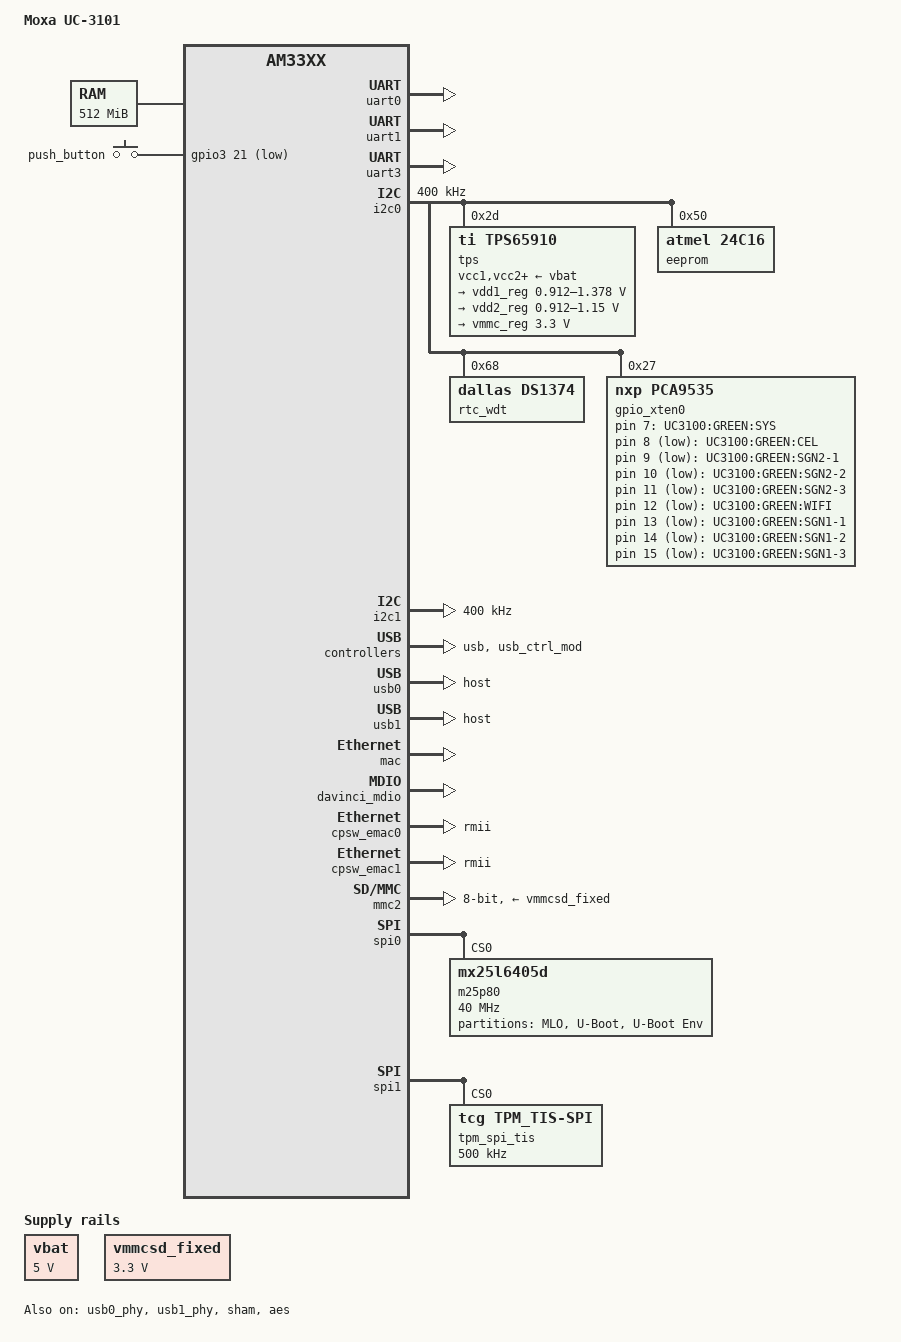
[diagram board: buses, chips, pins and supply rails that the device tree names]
/*
 * Copyright (C) 2017 MOXA Inc. - https://www.moxa.com/
 *
 * Author: Wes Huang (黃淵河) <wes.huang@moxa.com>
 *
 * This program is free software; you can redistribute it and/or modify
 * it under the terms of the GNU General Public License version 2 as
 * published by the Free Software Foundation.
 */

/dts-v1/;

#include "am33xx.dtsi"

/ {
	model = "Moxa UC-3101";
	compatible = "moxa,uc-3101", "ti,am33xx";

	cpus {
		cpu@0 {
			cpu0-supply = <&vdd1_reg>;
		};
	};

	cpu0_opp_table: opp_table0 {
		opp50@300000000 {
			status = "okay";
		};

		opp100@275000000 {
			status = "disabled";
		};

		opp100@300000000 {
			status = "disabled";
		};

		opp100@500000000 {
			status = "disabled";
		};

		opp100@600000000 {
			status = "okay";
		};

		opp120@600000000 {
			status = "disabled";
		};

		opp120@720000000 {
			status = "okay";
		};

		oppturbo@720000000 {
			status = "disabled";
		};

		oppturbo@800000000 {
			status = "disabled";
		};

		oppnitro@1000000000 {
			status = "okay";
		};
	};

	memory {
		device_type = "memory";
		reg = <0x80000000 0x20000000>; /* 512 MB */
	};

	vbat: fixedregulator@0 {
		compatible = "regulator-fixed";
	};

	/* Power supply provides a fixed 3.3V @3A */
	vmmcsd_fixed: fixedregulator@1 {
	      compatible = "regulator-fixed";
	      regulator-name = "vmmcsd_fixed";
	      regulator-min-microvolt = <3300000>;
	      regulator-max-microvolt = <3300000>;
	      regulator-boot-on;
	};

	leds {
		compatible = "gpio-leds";
		led@1 {
			label = "UC3100:GREEN:SYS";
			gpios = <&gpio_xten0 7 0>;
			default-state = "off";
		};

		led@2 {
			label = "UC3100:GREEN:CEL";
			gpios = <&gpio_xten0 8 1>;
			default-state = "off";
		};

		led@3 {
			label = "UC3100:GREEN:SGN2-1";
			gpios = <&gpio_xten0 9 1>;
			default-state = "off";
		};

		led@4 {
			label = "UC3100:GREEN:SGN2-2";
			gpios = <&gpio_xten0 10 1>;
			default-state = "off";
		};

		led@5 {
			label = "UC3100:GREEN:SGN2-3";
			gpios = <&gpio_xten0 11 1>;
			default-state = "off";
		};

		led@6 {
			label = "UC3100:GREEN:WIFI";
			gpios = <&gpio_xten0 12 1>;
			default-state = "off";
		};

		led@7 {
			label = "UC3100:GREEN:SGN1-1";
			gpios = <&gpio_xten0 13 1>;
			default-state = "off";
		};

		led@8 {
			label = "UC3100:GREEN:SGN1-2";
			gpios = <&gpio_xten0 14 1>;
			default-state = "off";
		};

		led@9 {
			label = "UC3100:GREEN:SGN1-3";
			gpios = <&gpio_xten0 15 1>;
			default-state = "off";
		};
	};

	buttons: push_button {
		compatible = "gpio-keys";
	};
};

&am33xx_pinmux {
	pinctrl-names = "default";

	push_button_pins: pinmux_push_button {
		pinctrl-single,pins = <
			0x1ac (PIN_INPUT_PULLDOWN | MUX_MODE7)  /* mcasp0_ahcklx.gpio3_21 */
		>;
	};

	i2c0_pins: pinmux_i2c0_pins {
		pinctrl-single,pins = <
			AM33XX_IOPAD(0x988, PIN_INPUT_PULLUP | MUX_MODE0)    /* i2c0_sda.i2c0_sda */
			AM33XX_IOPAD(0x98c, PIN_INPUT_PULLUP | MUX_MODE0)    /* i2c0_scl.i2c0_scl */
		>;
	};

	i2c1_pins: pinmux_i2c1_pins {
		pinctrl-single,pins = <
			AM33XX_IOPAD(0x968, PIN_INPUT_PULLUP | MUX_MODE3)    /* uart0_ctsn.i2c1_sda */
			AM33XX_IOPAD(0x96c, PIN_INPUT_PULLUP | MUX_MODE3)    /* uart0_rtsn.i2c1_scl */
		>;
	};

	uart0_pins: pinmux_uart0_pins {
		pinctrl-single,pins = <
			AM33XX_IOPAD(0x970, PIN_INPUT_PULLUP | MUX_MODE0)	/* uart0_rxd.uart0_rxd */
			AM33XX_IOPAD(0x974, PIN_OUTPUT_PULLDOWN | MUX_MODE0)	/* uart0_txd.uart0_txd */
		>;
	};

	uart1_pins: pinmux_uart1_pins {
		/* ELS61 Cellular Module */
		pinctrl-single,pins = <
			AM33XX_IOPAD(0x980, PIN_INPUT_PULLUP | MUX_MODE0)	/* uart1_rxd.uart1_rxd */
			AM33XX_IOPAD(0x984, PIN_OUTPUT_PULLDOWN | MUX_MODE0)	/* uart1_txd.uart1_txd */
		>;
	};

	uart3_pins: pinmux_uart3_pins {
		/* MCU FWR Upgrade */
		pinctrl-single,pins = <
			AM33XX_IOPAD(0x934, PIN_INPUT_PULLUP | MUX_MODE1)	/* mii1_rxd3.uart3_rxd */
			AM33XX_IOPAD(0x938, PIN_OUTPUT_PULLDOWN | MUX_MODE1)	/* mii1_rxd2.uart3_txd */
		>;
	};

	cpsw_default: cpsw_default {
		pinctrl-single,pins = <
			/* Slave 1 */
			AM33XX_IOPAD(0x90c, PIN_INPUT_PULLDOWN | MUX_MODE1)    	/* mii1_crs.rmii1_crs_dv */
			AM33XX_IOPAD(0x910, PIN_INPUT_PULLUP | MUX_MODE1)    	/* mii1_rx_er.rmii1_rxerr */
			AM33XX_IOPAD(0x914, PIN_OUTPUT_PULLDOWN | MUX_MODE1)   	/* mii1_tx_en.rmii1_rxen */
			AM33XX_IOPAD(0x924, PIN_OUTPUT_PULLDOWN | MUX_MODE1)  	/* mii1_txd1.rmii1_txd1 */
			AM33XX_IOPAD(0x928, PIN_OUTPUT_PULLDOWN | MUX_MODE1)	/* mii1_txd0.rmii1_txd0 */
			AM33XX_IOPAD(0x93c, PIN_INPUT_PULLUP | MUX_MODE1)    	/* mii1_rxd1.rmii1_rxd1 */
			AM33XX_IOPAD(0x940, PIN_INPUT_PULLUP | MUX_MODE1)    	/* mi11_rxd0.rmii1_rxd0 */
			AM33XX_IOPAD(0x944, PIN_INPUT_PULLDOWN | MUX_MODE0)    	/* rmii1_ref_clk.rmii1_ref_clk */

			/* Slave 2 */
			AM33XX_IOPAD(0x870, PIN_INPUT_PULLDOWN | MUX_MODE3)   	/* gpmc_wait0.rmii2_crs_dv */
			AM33XX_IOPAD(0x874, PIN_INPUT_PULLDOWN | MUX_MODE3)   	/* gpmc_wpn.rmii2_rxerr */
			AM33XX_IOPAD(0x840, PIN_OUTPUT_PULLDOWN | MUX_MODE3)   	/* gpmc_a0.rmii2_txen */
			AM33XX_IOPAD(0x850, PIN_OUTPUT_PULLDOWN | MUX_MODE3)   	/* gpmc_a4.rmii2_txd1 */
			AM33XX_IOPAD(0x854, PIN_OUTPUT_PULLDOWN | MUX_MODE3)   	/* gpmc_a5.rmii2_txd0 */
			AM33XX_IOPAD(0x868, PIN_INPUT_PULLDOWN | MUX_MODE3)   	/* gpmc_a10.rmii2_rxd1 */
			AM33XX_IOPAD(0x86c, PIN_INPUT_PULLDOWN | MUX_MODE3)   	/* gpmc_a10.rmii2_rxd0 */
			AM33XX_IOPAD(0x908, PIN_INPUT_PULLDOWN | MUX_MODE1)   	/* mii1_col.rmii2_ref_clk */
		>;
	};

	davinci_mdio_default: davinci_mdio_default {
		pinctrl-single,pins = <
			/* MDIO */
			AM33XX_IOPAD(0x948, PIN_INPUT_PULLUP | SLEWCTRL_FAST | MUX_MODE0)	/* mdio_data.mdio_data */
			AM33XX_IOPAD(0x94c, PIN_OUTPUT_PULLUP | MUX_MODE0)			/* mdio_clk.mdio_clk */
		>;
	};

	mmc1_pins_default: pinmux_mmc1_pins {
		pinctrl-single,pins = <
			/* eMMC */
			AM33XX_IOPAD(0x800, PIN_INPUT_PULLUP | MUX_MODE1)	/* gpmc_ad0.mmc1_dat0 */
			AM33XX_IOPAD(0x804, PIN_INPUT_PULLUP | MUX_MODE1)	/* gpmc_ad1.mmc1_dat1 */
			AM33XX_IOPAD(0x808, PIN_INPUT_PULLUP | MUX_MODE1)	/* gpmc_ad2.mmc1_dat2 */
			AM33XX_IOPAD(0x80c, PIN_INPUT_PULLUP | MUX_MODE1)	/* gpmc_ad3.mmc1_dat3 */
			AM33XX_IOPAD(0x810, PIN_INPUT_PULLUP | MUX_MODE1)	/* gpmc_ad4.mmc1_dat4 */
			AM33XX_IOPAD(0x814, PIN_INPUT_PULLUP | MUX_MODE1)	/* gpmc_ad5.mmc1_dat5 */
			AM33XX_IOPAD(0x818, PIN_INPUT_PULLUP | MUX_MODE1)	/* gpmc_ad6.mmc1_dat6 */
			AM33XX_IOPAD(0x81c, PIN_INPUT_PULLUP | MUX_MODE1)	/* gpmc_ad7.mmc1_dat7 */
			AM33XX_IOPAD(0x880, PIN_INPUT_PULLUP | MUX_MODE2)	/* gpmc_csn1.mmc1_clk */
			AM33XX_IOPAD(0x884, PIN_INPUT_PULLUP | MUX_MODE2)	/* gpmc_csn2.mmc1_cmd */
		>;
	};

	spi0_pins: pinmux_spi0 {
		pinctrl-single,pins = <
			AM33XX_IOPAD(0x950, PIN_INPUT_PULLUP | MUX_MODE0) /* spi0_sclk.spi0_sclk */
			AM33XX_IOPAD(0x95c, PIN_INPUT_PULLUP | MUX_MODE0) /* spi0_cs0.spi0_cs0 */
			AM33XX_IOPAD(0x954, PIN_INPUT_PULLUP | MUX_MODE0) /* spi0_d0.spi0_d0 */
			AM33XX_IOPAD(0x958, PIN_INPUT_PULLUP | MUX_MODE0) /* spi0_d1.spi0_d1 */
		>;
	};

	spi1_pins: pinmux_spi1 {
		pinctrl-single,pins = <
			AM33XX_IOPAD(0x990, PIN_INPUT_PULLUP | MUX_MODE3) /* mcasp0_aclx.spi1_sclk */
			AM33XX_IOPAD(0x994, PIN_INPUT_PULLUP | MUX_MODE3) /* mcasp0_fsx.spi1_d0 */
			AM33XX_IOPAD(0x998, PIN_INPUT_PULLUP | MUX_MODE3) /* mcasp0_axr0.spi1_d1 */
			AM33XX_IOPAD(0x99c, PIN_INPUT_PULLUP | MUX_MODE3) /* macasp0_ahclkr.spi1_cs0 */
		>;
	};

};

&uart0 {
	/* Console */
	status = "okay";
	pinctrl-names = "default";
	pinctrl-0 = <&uart0_pins>;
};

&uart1 {
	/* UART 1 setting */
	status = "okay";
	pinctrl-names = "default";
	pinctrl-0 = <&uart1_pins>;
};


&uart3 {
	/* UART 3 setting */
	status = "okay";
	pinctrl-names = "default";
	pinctrl-0 = <&uart3_pins>;
};

&i2c0 {
	pinctrl-names = "default";
	pinctrl-0 = <&i2c0_pins>;

	status = "okay";
	clock-frequency = <400000>;

	tps: tps@2d {
		compatible = "ti,tps65910";
		reg = <0x2d>;
	};

	eeprom: eeprom@50 {
		compatible = "atmel,24c16";
		pagesize = <16>;
		reg = <0x50>;
	};

	rtc_wdt: rtc_wdt@68 {
		compatible = "dallas,ds1374";
		reg = <0x68>;
	};

	gpio_xten0: gpio_xten0@27 {
		compatible = "nxp,pca9535";
		gpio-controller;
		#gpio-cells = <2>;
		reg = <0x27>;
	};
};

&i2c1 {
	pinctrl-names = "default";
	pinctrl-0 = <&i2c1_pins>;

	status = "okay";
	clock-frequency = <400000>;
};

&usb {
	status = "okay";
};

&usb_ctrl_mod {
	status = "okay";
};

&usb0_phy {
	status = "okay";
};

&usb1_phy {
	status = "okay";
};

&usb0 {
	status = "okay";
	dr_mode = "host";
};

&usb1 {
	status = "okay";
	dr_mode = "host";
};

&cppi41dma  {
	status = "okay";
};

#include "tps65910.dtsi"

&tps {
	vcc1-supply = <&vbat>;
	vcc2-supply = <&vbat>;
	vcc3-supply = <&vbat>;
	vcc4-supply = <&vbat>;
	vcc5-supply = <&vbat>;
	vcc6-supply = <&vbat>;
	vcc7-supply = <&vbat>;
	vccio-supply = <&vbat>;

	regulators {
		vrtc_reg: regulator@0 {
			regulator-always-on;
		};

		vio_reg: regulator@1 {
			regulator-always-on;
		};

		vdd1_reg: regulator@2 {
			/* VDD_MPU voltage limits 0.95V - 1.26V with +/-4% tolerance */
			regulator-name = "vdd_mpu";
			regulator-min-microvolt = <912500>;
			regulator-max-microvolt = <1378000>;
			regulator-boot-on;
			regulator-always-on;
		};

		vdd2_reg: regulator@3 {
			/* VDD_CORE voltage limits 0.95V - 1.1V with +/-4% tolerance */
			regulator-name = "vdd_core";
			regulator-min-microvolt = <912500>;
			regulator-max-microvolt = <1150000>;
			regulator-boot-on;
			regulator-always-on;
		};

		vdd3_reg: regulator@4 {
			regulator-always-on;
		};

		vdig1_reg: regulator@5 {
			regulator-always-on;
		};

		vdig2_reg: regulator@6 {
			regulator-always-on;
		};

		vpll_reg: regulator@7 {
			regulator-always-on;
		};

		vdac_reg: regulator@8 {
			regulator-always-on;
		};

		vaux1_reg: regulator@9 {
			regulator-always-on;
		};

		vaux2_reg: regulator@10 {
			regulator-always-on;
		};

		vaux33_reg: regulator@11 {
			regulator-always-on;
		};

		vmmc_reg: regulator@12 {
			compatible = "regulator-fixed";
			regulator-name = "vmmc_reg";
			regulator-min-microvolt = <3300000>;
			regulator-max-microvolt = <3300000>;
			regulator-always-on;
		};
	};
};

/* Power */
&vbat {
	regulator-name = "vbat";
	regulator-min-microvolt = <5000000>;
	regulator-max-microvolt = <5000000>;
};

&mac {
	pinctrl-names = "default";
	pinctrl-0 = <&cpsw_default>;
	dual_emac = <1>;
	status = "okay";
};

&davinci_mdio {
	pinctrl-names = "default";
	pinctrl-0 = <&davinci_mdio_default>;
	status = "okay";
};

&cpsw_emac0 {
	status = "okay";
	phy_id = <&davinci_mdio>, <4>;
	phy-mode = "rmii";
	dual_emac_res_vlan = <1>;
};

&cpsw_emac1 {
	status = "okay";
	phy_id = <&davinci_mdio>, <5>;
	phy-mode = "rmii";
	dual_emac_res_vlan = <2>;
};

&phy_sel {
	reg= <0x44e10650 0xf5>;
	rmii-clock-ext;
};

&sham {
	status = "okay";
};

&aes {
	status = "okay";
};

&gpio0 {
	ti,no-reset-on-init;
};

&mmc2 {
	pinctrl-names = "default";
	vmmc-supply = <&vmmcsd_fixed>;
	bus-width = <8>;
	pinctrl-0 = <&mmc1_pins_default>;
	ti,non-removable;
	status = "okay";
};

&buttons {
	pinctrl-names = "default";
	pinctrl-0 = <&push_button_pins>;
	#address-cells = <1>;
	#size-cells = <0>;

	button@0 {
		label = "push_button";
		linux,code = <0x100>;
		gpios = <&gpio3 21 GPIO_ACTIVE_LOW>;
	};
};

/* SPI Busses */
&spi0 {
	status = "okay";
	pinctrl-names = "default";
	pinctrl-0 = <&spi0_pins>;

	m25p80@0 {
		compatible = "mx25l6405d";
		spi-max-frequency = <40000000>;

		reg = <0>;
		spi-cpol;
		spi-cpha;

		partitions {
			compatible = "fixed-partitions";
			#address-cells = <1>;
			#size-cells = <1>;

			/* reg : The partition's offset and size within the mtd bank. */
			partitions@0 {
				label = "MLO";
				reg = <0x0 0x80000>;
			};

			partitions@1 {
				label = "U-Boot";
				reg = <0x80000 0x100000>;
			};

			partitions@2 {
				label = "U-Boot Env";
				reg = <0x180000 0x40000>;
			};
		};
	};
};

&spi1{
	status = "okay";
	pinctrl-names = "default";
	pinctrl-0 = <&spi1_pins>;
	tpm_spi_tis@0{
		compatible = "tcg,tpm_tis-spi";
		reg = <0>;
		spi-max-frequency = <500000>;
	};
};

